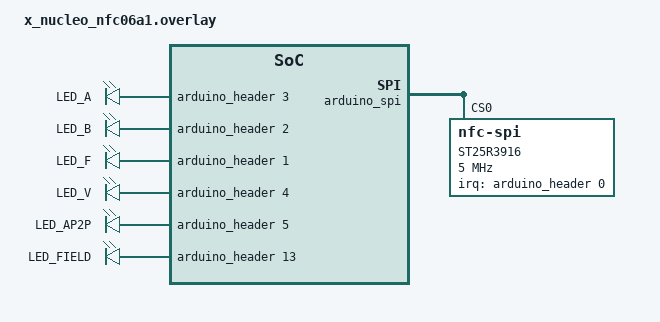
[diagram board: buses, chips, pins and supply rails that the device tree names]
/*
 *
 * Copyright (c) 2019 Linaro Limited
 *
 * SPDX-License-Identifier: Apache-2.0
 */

&arduino_spi {
	status = "okay";
	st25r3916@0 {
		compatible = "zephyr,nfc-spi";
		reg = <0>;
		irq-gpios = <&arduino_header 0 0>; /* A0 */
		cs-gpios =  <&arduino_header 16 0>; /* D10 */
		spi-max-frequency = <5000000>;
		label = "ST25R3916";
	};
};

/ {
	nfc_leds {
		compatible = "gpio-leds";
		led_a {
			gpios = <&arduino_header 3 0>; /* A3 */
			label = "LED_A";
		};
		led_b {
			gpios = <&arduino_header 2 0>; /* A2 */
			label = "LED_B";
		};
		led_f {
			gpios = <&arduino_header 1 0>; /* A1 */
			label = "LED_F";
		};
		led_v {
			gpios = <&arduino_header 4 0>; /* A4 */
			label = "LED_V";
		};
		led_ap2p {
			gpios = <&arduino_header 5 0>; /* A5 */
			label = "LED_AP2P";
		};
		led_field {
			gpios = <&arduino_header 13 0>; /* D7 */
			label = "LED_FIELD";
		};

	};
};

